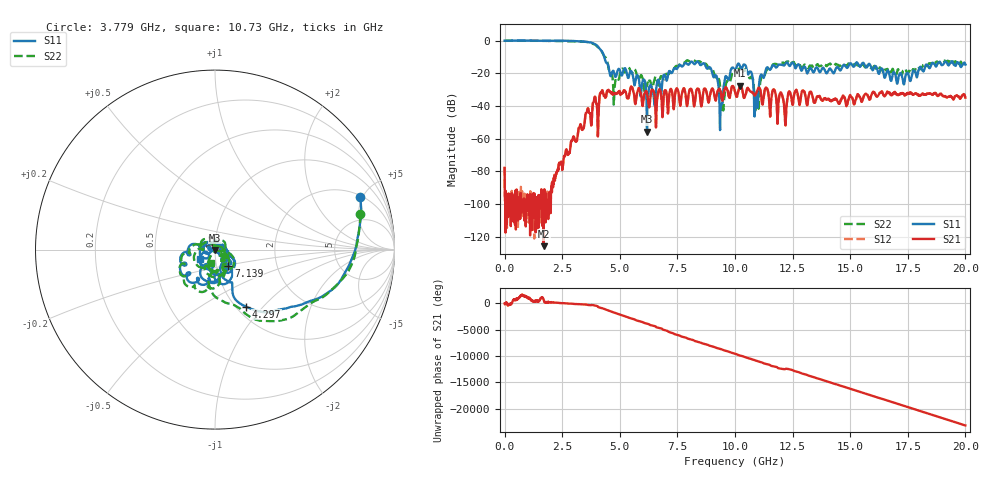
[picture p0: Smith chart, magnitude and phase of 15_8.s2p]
#  HZ  S  RI  R  50.00
! Rohde & Schwarz Vector Network Analyzer
! Rohde-Schwarz,ZNB20-2Port,1311601062102128,3.60
! Created: UTC 4/29/2024, 2:58:06 PM
! freq[Hz]  re:S11  im:S11  re:S21  im:S21  re:S12  im:S12  re:S22  im:S22
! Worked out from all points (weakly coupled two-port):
!   2007 points, 100 kHz to 20 GHz, reference 50 ohm
!   highest |S21| = -27.65 dB at 10.23 GHz (marker M1); lowest = -125.8 dB at 1.695 GHz (marker M2)
!   lowest |S11| = -55.7 dB at 6.182 GHz (marker M3), VSWR 1.00, Z = 50 - j0.161 ohm
!   |S11| at or under -10 dB: 4.326 GHz to end of sweep
!   |S22| runs from -43.0 to 0.1 dB; largest |S21 - S12| = 0.0021
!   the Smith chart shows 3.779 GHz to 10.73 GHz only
!   S11 on the Smith chart (normalised r, x): 3.779 GHz: 2.08, +4.77; 4.297 GHz: 1.11, -0.81; 7.139 GHz: 1.14, -0.21; 10.73 GHz: 0.84, -0.09
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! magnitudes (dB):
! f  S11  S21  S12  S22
! 100 kHz  0.0  -78.0  -77.1  0.1
! 1.695 GHz  -0.1  -125.8  -96.2  -0.2
! 3.34 GHz  -0.6  -53.8  -53.6  -0.6
! 3.779 GHz  -1.3  -49.8  -50.1  -1.6
! 4.297 GHz  -8.8  -33.5  -33.7  -9.0
! 4.776 GHz  -20.7  -32.4  -32.4  -28.7
! 5.354 GHz  -22.8  -35.3  -35.2  -16.3
! 6.182 GHz  -55.7  -32.1  -32.2  -27.3
! 6.67 GHz  -23.9  -31.3  -31.3  -27.2
! 7.139 GHz  -18.7  -34.0  -34.0  -20.4
! 8.644 GHz  -13.9  -30.2  -30.1  -14.3
! 9.183 GHz  -21.4  -35.6  -35.5  -22.5
! 9.392 GHz  -40.2  -32.7  -32.8  -34.1
! 10 GHz  -18.7  -31.3  -31.3  -19.3
! 10.23 GHz  -15.9  -27.6  -27.6  -16.8
! 10.73 GHz  -20.1  -31.4  -31.4  -22.3
! 10.92 GHz  -33.5  -32.4  -32.4  -34.2
! 11.42 GHz  -16.4  -30.2  -30.2  -16.8
! 12.17 GHz  -14.5  -49.4  -49.5  -13.9
! 13.34 GHz  -18.0  -32.8  -32.8  -15.3
! 16.67 GHz  -19.1  -31.7  -31.7  -20.5
! 20 GHz  -14.6  -34.9  -34.9  -14.4
